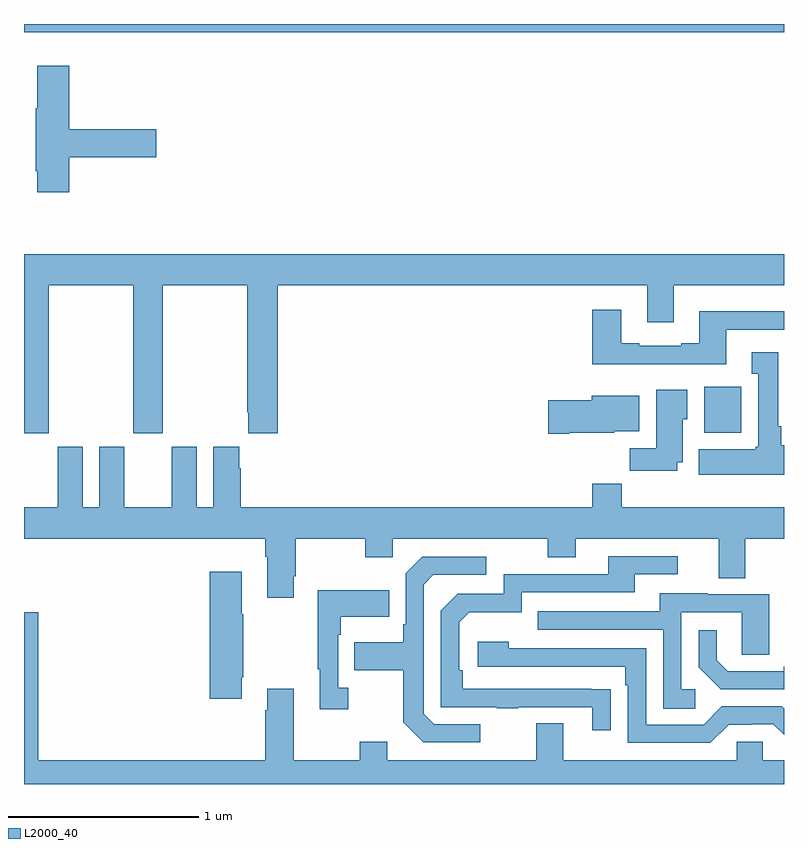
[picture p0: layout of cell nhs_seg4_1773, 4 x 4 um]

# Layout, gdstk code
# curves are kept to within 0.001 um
import gdstk
lib = gdstk.Library(unit=1e-6, precision=1e-09)
def R(c, l, rs):  # rectangles x0, y0, x1, y1
    for r in rs: c.add(gdstk.rectangle(r[:2], r[2:], *l))
def P(c, l, *ps):  # polygons
    for p in ps: c.add(gdstk.Polygon(p, *l))
L2000_40 = (2000, 40)

nhs_seg4_1773 = lib.new_cell('nhs_seg4_1773')
R(nhs_seg4_1773, L2000_40, [(206.579,758.75,206.776,758.992), (203,760.856,207,760.9)])
P(nhs_seg4_1773, L2000_40, [(203.237,760.199),(203.695,760.199),(203.695,760.346),(203.237,760.346),(203.237,760.681),(203.069,760.681),(203.069,760.457),(203.062,760.457),(203.062,760.126),(203.069,760.126),(203.069,760.014),(203.237,760.014)],
  [(203.13,759.524),(203.575,759.524),(203.575,758.745),(203.73,758.745),(203.73,759.524),(204.175,759.524),(204.175,758.857),(204.179,758.857),(204.179,758.745),(204.335,758.745),(204.335,759.524),(206.279,759.524),(206.279,759.33),(206.419,759.33),(206.419,759.524),(207,759.524),(207,759.688),(203,759.688),(203,758.745),(203.13,758.745)],
  [(206.695,759.291),(207,759.291),(207,759.388),(206.555,759.388),(206.555,759.22),(206.459,759.22),(206.459,759.207),(206.239,759.207),(206.239,759.22),(206.143,759.22),(206.143,759.397),(205.991,759.397),(205.991,759.11),(206.695,759.11)],
  [(207,758.682),(206.986,758.682),(206.986,758.782),(206.971,758.782),(206.971,759.172),(206.831,759.172),(206.831,759.059),(206.864,759.059),(206.864,758.676),(206.851,758.676),(206.851,758.662),(206.552,758.662),(206.552,758.528),(207,758.528)],
  [(206.437,758.594),(206.467,758.594),(206.467,758.82),(206.491,758.82),(206.491,758.974),(206.327,758.974),(206.327,758.668),(206.188,758.668),(206.188,758.55),(206.437,758.55)],
  [(205.87,758.75),(206.106,758.75),(206.106,758.756),(206.239,758.756),(206.239,758.944),(205.988,758.944),(205.988,758.921),(205.758,758.921),(205.758,758.743),(205.87,758.743)],
  [(204.421,757.993),(204.429,757.993),(204.429,758.192),(204.796,758.192),(204.796,758.093),(204.942,758.093),(204.942,758.192),(205.756,758.192),(205.756,758.093),(205.903,758.093),(205.903,758.192),(206.657,758.192),(206.657,757.984),(206.797,757.984),(206.797,758.192),(207,758.192),(207,758.356),(206.147,758.356),(206.147,758.48),(205.991,758.48),(205.991,758.356),(204.14,758.356),(204.14,758.561),(204.133,758.561),(204.133,758.674),(203.996,758.674),(203.996,758.356),(203.908,758.356),(203.908,758.674),(203.777,758.674),(203.777,758.356),(203.527,758.356),(203.527,758.674),(203.396,758.674),(203.396,758.356),(203.308,758.356),(203.308,758.674),(203.177,758.674),(203.177,758.356),(203,758.356),(203,758.192),(204.269,758.192),(204.269,758.096),(204.281,758.096),(204.281,757.881),(204.421,757.881)],
  [(206.087,757.4),(205.31,757.401),(205.31,757.498),(205.29,757.498),(205.29,757.752),(205.343,757.805),(205.62,757.805),(205.62,757.908),(206.215,757.908),(206.215,758.004),(206.44,758.004),(206.44,758.1),(206.075,758.1),(206.075,758.004),(205.524,758.004),(205.524,757.902),(205.284,757.902),(205.194,757.812),(205.194,757.305),(205.489,757.305),(205.489,757.3),(205.601,757.3),(205.601,757.305),(205.991,757.305),(205.991,757.182),(206.087,757.182)],
  [(205.402,757.215),(205.158,757.215),(205.104,757.269),(205.104,757.95),(205.155,758.001),(205.432,758.001),(205.432,758.097),(205.095,758.097),(205.008,758.01),(205.008,757.741),(204.996,757.741),(204.996,757.645),(204.739,757.645),(204.739,757.498),(204.996,757.498),(204.996,757.225),(205.101,757.119),(205.402,757.119)],
  [(204.145,757.462),(204.153,757.462),(204.153,757.793),(204.145,757.793),(204.145,758.017),(203.978,758.017),(203.978,757.35),(204.145,757.35)],
  [(204.706,757.406),(204.654,757.406),(204.654,757.685),(204.667,757.685),(204.667,757.781),(204.923,757.781),(204.923,757.921),(204.546,757.921),(204.546,757.505),(204.557,757.505),(204.557,757.293),(204.706,757.293)],
  [(206.533,757.398),(206.46,757.398),(206.46,757.803),(206.778,757.803),(206.778,757.579),(206.923,757.579),(206.923,757.899),(206.599,757.899),(206.599,757.903),(206.345,757.903),(206.345,757.809),(205.705,757.809),(205.705,757.713),(206.364,757.713),(206.364,757.297),(206.533,757.297)],
  [(207,757.024),(206.889,757.024),(206.889,757.122),(206.751,757.122),(206.751,757.024),(205.837,757.024),(205.837,757.219),(205.697,757.219),(205.697,757.024),(204.913,757.024),(204.913,757.123),(204.766,757.123),(204.766,757.024),(204.421,757.024),(204.421,757.402),(204.281,757.402),(204.281,757.289),(204.269,757.289),(204.269,757.024),(203.075,757.024),(203.075,757.804),(203,757.804),(203,756.9),(207,756.9)],
  [(207,757.517),(206.999,757.517),(206.999,757.494),(206.704,757.494),(206.647,757.551),(206.647,757.708),(206.55,757.708),(206.55,757.514),(206.666,757.398),(207,757.398)],
  [(206.709,757.212),(206.828,757.212),(206.828,757.215),(206.943,757.215),(207,757.158),(207,757.296),(206.988,757.308),(206.673,757.308),(206.577,757.212),(206.274,757.212),(206.274,757.614),(205.55,757.614),(205.55,757.648),(205.389,757.648),(205.389,757.518),(206.165,757.518),(206.165,757.421),(206.178,757.421),(206.178,757.116),(206.613,757.116)])

lib.write_gds('nhs_seg4_1773.gds')
